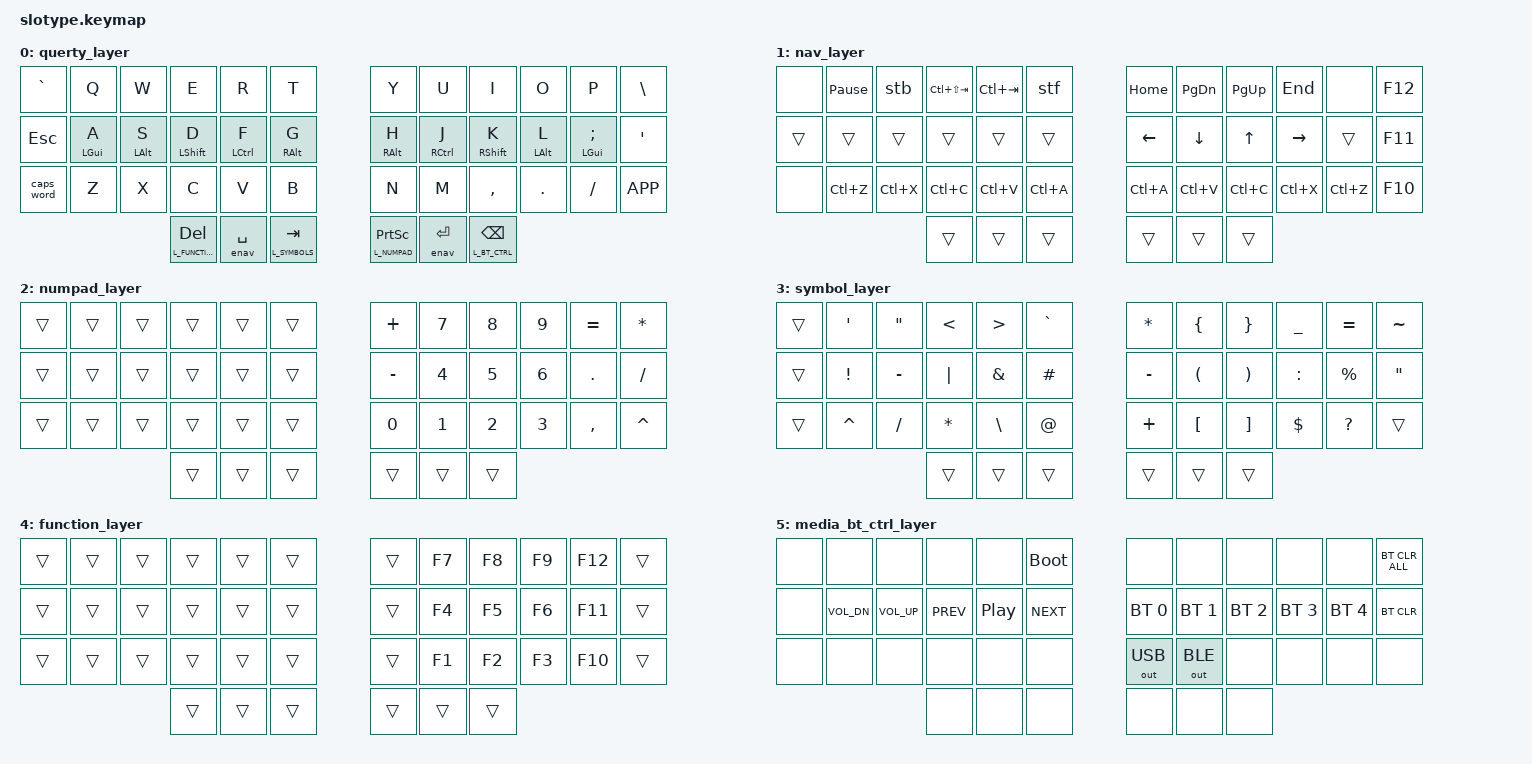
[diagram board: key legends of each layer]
#include <behaviors.dtsi>
#include <dt-bindings/zmk/keys.h>
#include <dt-bindings/zmk/bt.h>
#include <dt-bindings/zmk/outputs.h>

// Aliases
#define XXX &none
#define ___ &trans


// Layer names
#define L_BASE     0
#define L_NAV      1
#define L_NUMPAD   2
#define L_SYMBOLS  3
#define L_FUNCTION 4
#define L_BT_CTRL  5

// Rows
#define RLT    0  1  2  3  4  5
#define RRT    6  7  8  9 10 11
#define RLM   12 13 14 15 16 17
#define RRM   18 19 20 21 22 23
#define RLB   24 25 26 27 28 29
#define RRB   30 31 32 33 34 35
#define RLH   36 37 38
#define RRH   39 40 41

#define LSIDE  RLT RLM RLB RLH
#define RSIDE  RRT RRM RRB RRH



&lt {
    tapping-term-ms = <180>;
    quick-tap-ms = <280>;
};

&sk {
    release-after-ms = <1500>;
    quick-release;
};

/ {
    macros {
        stf: super_tab_fwd {
            compatible = "zmk,behavior-macro";
            #binding-cells = <0>;
            bindings
                = <&macro_press &kp LALT>
                , <&macro_tap &kp TAB>
                , <&macro_tap &sk LALT>
                , <&macro_release &kp LALT>
                ;
        };

        stb: super_tab_bkw {
            compatible = "zmk,behavior-macro";
            #binding-cells = <0>;
            bindings
                = <&macro_press &kp LALT>
                , <&macro_tap &kp LS(TAB)>
                , <&macro_tap &sk LALT>
                , <&macro_release &kp LALT>
                ;

        };

        enpad: enable_numpad_layer {
            compatible = "zmk,behavior-macro";
            #binding-cells = <0>;
            bindings
                = <&macro_tap &kp LNLCK>
                , <&macro_press &mo L_NUMPAD>
                , <&macro_pause_for_release>
                , <&macro_release &mo L_NUMPAD>
                , <&macro_tap &kp LNLCK>
                , <&macro_tap &kp KP_CLEAR>
                ;
        };

        enav: enable_navigation_layer {
            compatible = "zmk,behavior-macro";
            #binding-cells = <0>;
            bindings
                = <&macro_press &mo L_NAV>
                , <&macro_pause_for_release>
                , <&macro_release &mo L_NAV>
                , <&macro_tap &kp K_CANCEL> 
                ;
        };
    };

    behaviors {
        pm: pinky_mod {  // Give some more time for the pinky
            compatible = "zmk,behavior-hold-tap";
            #binding-cells = <2>;
            tapping-term-ms = <230>;
            quick-tap-ms = <250>;
            // require-prior-idle-ms = <100>;
            flavor = "tap-preferred";
            bindings = <&kp>, <&kp>;
        };

        hm: homerow_mods {
            compatible = "zmk,behavior-hold-tap";
            #binding-cells = <2>;
            tapping-term-ms = <200>;
            quick-tap-ms = <250>;
            // require-prior-idle-ms = <100>;
            flavor = "tap-preferred";
            bindings = <&kp>, <&kp>;
        };

        lsm: left_shift_mod {
            compatible = "zmk,behavior-hold-tap";
            #binding-cells = <2>;
            tapping-term-ms = <150>;
            quick-tap-ms = <250>;
            flavor = "balanced";
            hold-trigger-key-positions = <RSIDE>;
            bindings = <&kp>, <&kp>;
        };

        rsm: right_shift_mod {
            compatible = "zmk,behavior-hold-tap";
            #binding-cells = <2>;
            tapping-term-ms = <150>;
            quick-tap-ms = <250>;
            flavor = "balanced";
            hold-trigger-key-positions = <LSIDE>;
            bindings = <&kp>, <&kp>;
        };

        num: enable_numpad_hold {
            compatible = "zmk,behavior-hold-tap";
            #binding-cells = <2>;
            tapping-term-ms = <250>;
            quick-tap-ms = <250>;
            flavor = "tap-preferred";
            bindings = <&enpad>, <&kp>;
        };

        nav: enable_nav_hold {
            compatible = "zmk,behavior-hold-tap";
            #binding-cells = <2>;
            tapping-term-ms = <200>;
            quick-tap-ms = <200>;
            flavor = "tap-preferred";
            bindings = <&enav>, <&kp>;
        };
    };

    keymap {
        compatible = "zmk,keymap";

        querty_layer {
// ------------------------------------------------------------------------------------------------------------------------------------
// |   `     |    Q    |    W    |    E    |    R    |    T    |          |    Y    |    U    |    I    |    O    |    P    |    \    |
// |   ESC   | A/LGUI  | S/LALT  | D/LSHFT | F/LCRTL | G/RALT  |          | H/RALT  | J/RCTRL | K/RSHFT | L/LALT  | ;/RGUI  |    '    |
// |  SCAPS  |    Z    |    X    |    C    |    V    |    B    |          |    N    |    M    |    ,    |    .    |    /    |  CTX MN |
//                               |   TAB   |   SPC   |   DEL   |          |  BSPC   |   RET   |  PSCRN  |
            bindings = <
    &kp GRAVE   &kp Q       &kp W       &kp E               &kp R           &kp T                         &kp Y                  &kp U               &kp I                &kp O       &kp P         &kp BSLH
    &kp ESC     &pm LGUI A  &hm LALT S  &lsm LSHIFT D       &hm LCTRL F     &hm RALT G                    &hm RALT H             &hm RCTRL J         &rsm RSHIFT K        &hm LALT L  &pm LGUI SEMI &kp SQT
    &caps_word  &kp Z       &kp X       &kp C               &kp V           &kp B                         &kp N                  &kp M               &kp COMMA            &kp DOT     &kp FSLH      &kp K_APP
                                        &lt L_FUNCTION DEL  &nav 0 SPACE    &lt L_SYMBOLS TAB             &lt L_NUMPAD PSCRN     &nav 0 RET          &lt L_BT_CTRL BSPC
            >;
        };

        nav_layer {
// --------------------------------------------------------------------------------------------------------------------------------
// |         |         |         |         |          |        |          |    *     |    7    |    8    |    9    |   -    |    /   |
// |         |         |         |         |          |        |          |    0     |    4    |    5    |    6    |   .    |    ^   |
// |         |         |         |         |          |        |          |    +     |    1    |    2    |    3    |   ,    |    =   |
//                               |         |          |        |          |          |         |         |
            bindings = <
    XXX      &kp PAUSE_BREAK  &stb       &kp LC(LS(TAB))  &kp LC(TAB)  &stf          &kp HOME   &kp PG_DN  &kp PG_UP  &kp END    XXX        &kp F12
    ___      ___               ___       ___              ___          ___           &kp LEFT   &kp DOWN   &kp UP     &kp RIGHT  ___        &kp F11
    XXX      &kp LC(Z)        &kp LC(X)  &kp LC(C)        &kp LC(V)    &kp LC(A)     &kp LC(A)  &kp LC(V)  &kp LC(C)  &kp LC(X)  &kp LC(Z)  &kp F10
                                         ___              ___          ___           ___       ___        ___
            >;
        };

        numpad_layer {
// --------------------------------------------------------------------------------------------------------------------------------
// |         |         |         |         |          |        |          |    *     |    7     |     8    |     9     |    =     |    /   |
// |         |         |         |         |          |        |          |    -     |    4     |     5    |     6     |    .     |    ^   |
// |         |         |         |         |          |        |          |    +     |    1     |     2    |     3     |    /     |    ,   |
//                               |         |          |        |          |          |          |          |
            bindings = <
    ___      ___     ___     ___     ___     ___                 &kp PLUS   &kp N7  &kp N8  &kp N9  &kp EQUAL  &kp ASTRK
    ___      ___     ___     ___     ___     ___                 &kp MINUS  &kp N4  &kp N5  &kp N6  &kp DOT    &kp SLASH
    ___      ___     ___     ___     ___     ___                 &kp N0     &kp N1  &kp N2  &kp N3  &kp COMMA  &kp CARET
                             ___     ___     ___                 ___        ___     ___
            >;
        };

        symbol_layer {
// --------------------------------------------------------------------------------------------------------------------------------
// |        |   '   |   "   |   <   |   >   |  `  |                |   *    |   {   |   }   |   _   |   =   |   ~   |
// |        |   !   |   -   |   |   |   &   |  #  |                |   -    |   (   |   )   |   :   |   %   |   ;   |
// |        |   ^   |   /   |   *   |   \   |  @  |                |   +    |   [   |   ]   |   $   |   ?   |       |
//                          |       |       |     |                |        |       |       |
            bindings = <
    ___  &kp SQT    &kp DQT    &kp LT    &kp GT     &kp GRAVE        &kp ASTRK  &kp LBRC  &kp RBRC  &kp UNDER   &kp EQUAL     &kp TILDE
    ___  &kp EXCL   &kp MINUS  &kp PIPE  &kp AMPS   &kp HASH         &kp MINUS  &kp LPAR  &kp RPAR  &kp COLON   &kp PERCENT   &kp DQT
    ___  &kp CARET  &kp SLASH  &kp STAR  &kp BSLH   &kp AT           &kp PLUS   &kp LBKT  &kp RBKT  &kp DOLLAR  &kp QUESTION  ___
                               ___       ___        ___              ___        ___        ___
            >;
        };

        function_layer {
// --------------------------------------------------------------------------------------------------------------------------------
// |        |       |       |       |       |     |      |          |        |       |       |         |         |
// |        |       |       |       |       |     |      |          |        |       |       |         |         |
// |        |       |       |       |       |     |      |          |        |       |       |         |         |
//                          |       |       |     |      |          |        |       |
            bindings = <

    ___      ___     ___     ___     ___     ___        ___  &kp F7  &kp F8  &kp F9  &kp F12  ___
    ___      ___     ___     ___     ___     ___        ___  &kp F4  &kp F5  &kp F6  &kp F11  ___
    ___      ___     ___     ___     ___     ___        ___  &kp F1  &kp F2  &kp F3  &kp F10  ___
                             ___     ___     ___        ___  ___     ___
            >;
        };

        media_bt_ctrl_layer {
// --------------------------------------------------------------------------------------------------------------------------------
//        |        |       |        |          |        |          |  BT1  |  BT2  |  BT3  |  BT4  |  BT5  |  BT CLR ALL  |
//        |  VDWN  |  VUP  |  PREV  |  PL/PAU  |  NEXT  |          |       |       |       |       |       |    BT CLR    |
//        |        |       |        |          |        |          |       |       |       |       |       |              |
//                         |        |          |        |          |       |       |       |
            bindings = <
    XXX   XXX           XXX           XXX         XXX       &bootloader             XXX           XXX           XXX           XXX           XXX           &bt BT_CLR_ALL
    XXX   &kp C_VOL_DN  &kp C_VOL_UP  &kp C_PREV  &kp C_PP  &kp C_NEXT              &bt BT_SEL 0  &bt BT_SEL 1  &bt BT_SEL 2  &bt BT_SEL 3  &bt BT_SEL 4  &bt BT_CLR
    XXX   XXX           XXX           XXX         XXX       XXX                     &out OUT_USB  &out OUT_BLE  XXX           XXX           XXX           XXX
                                      XXX         XXX       XXX                     XXX           XXX           XXX
            >;
        };

//         null_layer {
// // --------------------------------------------------------------------------------------------------------------------------------
// // |        |       |       |       |       |     |      |          |        |       |       |         |         |
// // |        |       |       |       |       |     |      |          |        |       |       |         |         |
// // |        |       |       |       |       |     |      |          |        |       |       |         |         |
// //                          |       |       |     |      |          |        |       |
//             bindings = <
//     ___      ___     ___     ___     ___     ___          ___  ___  ___  ___  ___  ___
//     ___      ___     ___     ___     ___     ___          ___  ___  ___  ___  ___  ___
//     ___      ___     ___     ___     ___     ___          ___  ___  ___  ___  ___  ___
//                             ___  ___  ___        ___  ___  ___
//             >;
//         };

//         opaque_layer {
// // --------------------------------------------------------------------------------------------------------------------------------
// // |        |       |       |       |       |     |      |          |        |       |       |         |         |
// // |        |       |       |       |       |     |      |          |        |       |       |         |         |
// // |        |       |       |       |       |     |      |          |        |       |       |         |         |
// //                          |       |       |     |      |          |        |       |
//             bindings = <
//     XXX  XXX  XXX  XXX  XXX  XXX        XXX  XXX  XXX  XXX  XXX  XXX
//     XXX  XXX  XXX  XXX  XXX  XXX        XXX  XXX  XXX  XXX  XXX  XXX
//     XXX  XXX  XXX  XXX  XXX  XXX        XXX  XXX  XXX  XXX  XXX  XXX
//                          XXX  XXX  XXX        XXX  XXX  XXX
//             >;
//         };

    };
};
